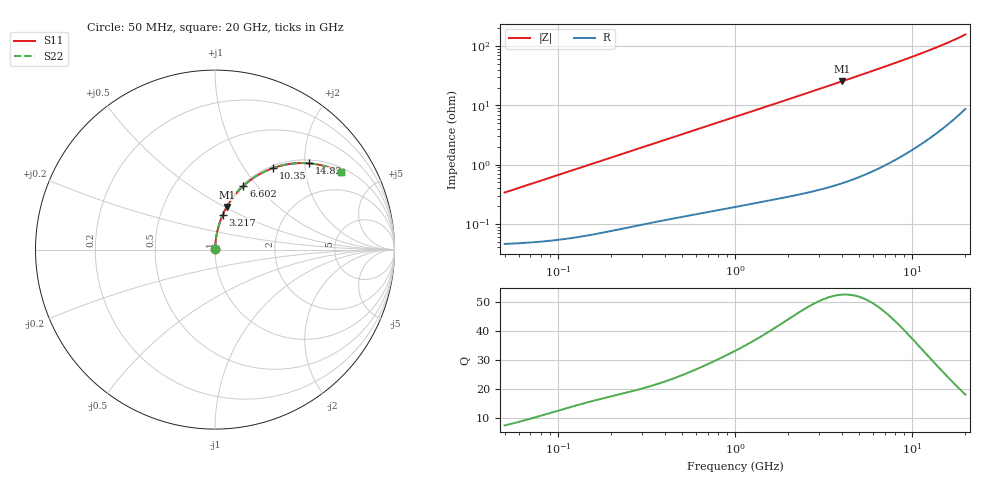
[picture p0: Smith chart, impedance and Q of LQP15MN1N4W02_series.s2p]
!Murata Part Number: LQP15MN1N4W02
!These Parameters are Measured in Series Mode Connection
!  o--[Z]--o
!Port1  Port2
!  o-------o
!Freq. Start=50[MHz] Stop=20[GHz], 401[Steps]
# Hz S RI R 50
!Freq.(Hz) S11(Real) S11(Imag) S21(Real) S21(Imag) S12(Real) S12(Imag) S22(Real) S22(Imag)
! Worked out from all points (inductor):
!   401 points, 50 MHz to 20 GHz, reference 50 ohm
!   read as one part in series: L = 1.06 nH near 51.52 MHz
!   highest Q = 52.7 at 4.027 GHz (marker M1), where L = 1.01 nH
!   S11 on the Smith chart (normalised r, x): 50 MHz: 1.00, +0.01; 3.217 GHz: 1.01, +0.41; 6.602 GHz: 1.02, +0.85; 10.35 GHz: 1.04, +1.38; 14.82 GHz: 1.08, +2.10; 20 GHz: 1.18, +3.16
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5e7  0.00047 0.00335  0.9995 -0.00335  0.9995 -0.00335  0.00047 0.00335
5.152053e7  0.000472 0.00345  0.9995 -0.00345  0.9995 -0.00345  0.000472 0.00345
1.364002e8  0.000694 0.00905  0.9993 -0.00905  0.9993 -0.00905  0.000694 0.00905
3.721004e8  0.00169 0.0241  0.9983 -0.0241  0.9983 -0.0241  0.00169 0.0241
6.380365e8  0.00317 0.0408  0.9968 -0.0408  0.9968 -0.0408  0.00317 0.0408
1e9  0.00596 0.0633  0.994 -0.0633  0.994 -0.0633  0.00596 0.0633
1.329223e9  0.00931 0.0836  0.9907 -0.0836  0.9907 -0.0836  0.00931 0.0836
1.714689e9  0.0142 0.107  0.9858 -0.107  0.9858 -0.107  0.0142 0.107
2.179053e9  0.0215 0.1347  0.9785 -0.1347  0.9785 -0.1347  0.0215 0.1347
2.728004e9  0.0322 0.1666  0.9678 -0.1666  0.9678 -0.1666  0.0322 0.1666
3.216634e9  0.0434 0.1942  0.9566 -0.1942  0.9566 -0.1942  0.0434 0.1942
4.026975e9  0.0654 0.2378  0.9346 -0.2378  0.9346 -0.2378  0.0654 0.2378
5.194772e9  0.1036 0.2952  0.8964 -0.2952  0.8964 -0.2952  0.1036 0.2952
6.601595e9  0.158 0.3544  0.842 -0.3544  0.842 -0.3544  0.158 0.3544
7.442007e9  0.1936 0.3843  0.8064 -0.3843  0.8064 -0.3843  0.1936 0.3843
8.774992e9  0.2533 0.4229  0.7467 -0.4229  0.7467 -0.4229  0.2533 0.4229
1.034674e10  0.3259 0.4552  0.6741 -0.4552  0.6741 -0.4552  0.3259 0.4552
1.257102e10  0.4274 0.4787  0.5726 -0.4787  0.5726 -0.4787  0.4274 0.4787
1.482269e10  0.5234 0.4806  0.4766 -0.4806  0.4766 -0.4806  0.5234 0.4806
1.696185e10  0.6052 0.4669  0.3948 -0.4669  0.3948 -0.4669  0.6052 0.4669
1.940974e10  0.6863 0.4382  0.3137 -0.4382  0.3137 -0.4382  0.6863 0.4382
2e10  0.7038 0.4297  0.2962 -0.4297  0.2962 -0.4297  0.7038 0.4297
